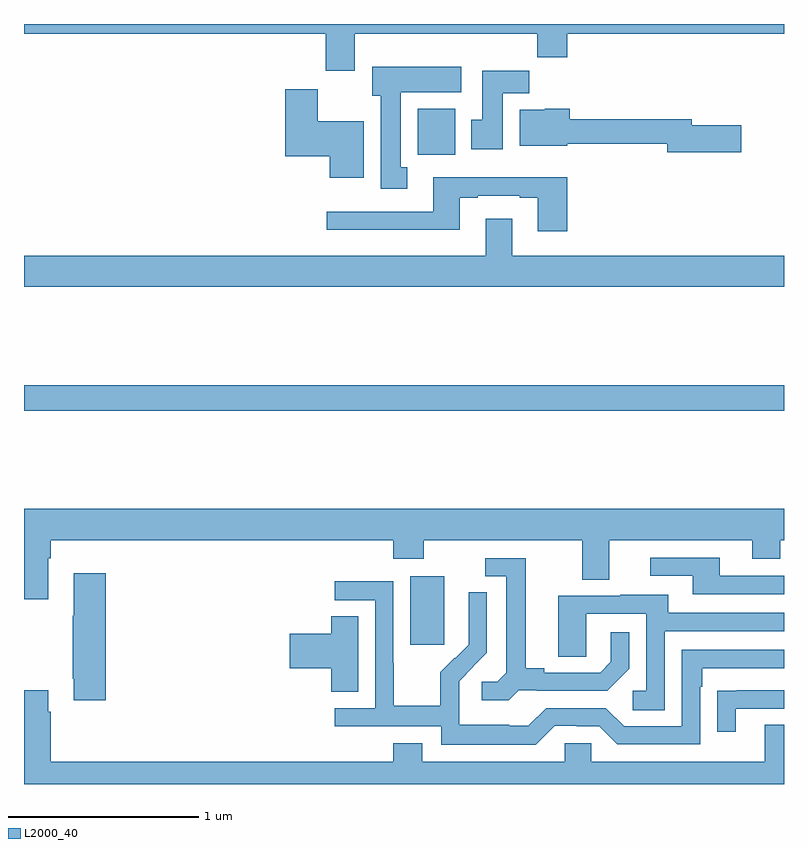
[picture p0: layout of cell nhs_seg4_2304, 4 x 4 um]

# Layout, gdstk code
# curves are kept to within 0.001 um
import gdstk
lib = gdstk.Library(unit=1e-6, precision=1e-09)
def R(c, l, rs):  # rectangles x0, y0, x1, y1
    for r in rs: c.add(gdstk.rectangle(r[:2], r[2:], *l))
def P(c, l, *ps):  # polygons
    for p in ps: c.add(gdstk.Polygon(p, *l))
L2000_40 = (2000, 40)

nhs_seg4_2304 = lib.new_cell('nhs_seg4_2304')
R(nhs_seg4_2304, L2000_40, [(233.033,765.633,233.212,765.994), (231,766.864,235,767), (233.072,768.212,233.269,768.454)])
P(nhs_seg4_2304, L2000_40, [(233.701,768.724),(233.858,768.724),(233.858,768.848),(235,768.848),(235,768.9),(231,768.9),(231,768.848),(232.589,768.848),(232.589,768.654),(232.741,768.654),(232.741,768.848),(233.701,768.848)],
  [(233.017,768.146),(232.984,768.146),(232.984,768.542),(233.302,768.542),(233.302,768.676),(232.832,768.676),(232.832,768.522),(232.877,768.522),(232.877,768.033),(233.017,768.033)],
  [(233.521,768.536),(233.66,768.536),(233.66,768.655),(233.411,768.655),(233.411,768.396),(233.354,768.396),(233.354,768.24),(233.521,768.24)],
  [(232.789,768.388),(232.546,768.388),(232.546,768.556),(232.376,768.556),(232.376,768.203),(232.61,768.203),(232.61,768.092),(232.789,768.092)],
  [(234.775,768.366),(234.514,768.366),(234.514,768.4),(233.873,768.4),(233.873,768.454),(233.742,768.454),(233.742,768.448),(233.609,768.448),(233.609,768.26),(233.86,768.26),(233.86,768.271),(234.386,768.271),(234.386,768.224),(234.775,768.224)],
  [(233.858,768.094),(233.153,768.094),(233.153,767.913),(232.593,767.913),(232.593,767.816),(233.293,767.816),(233.293,767.985),(233.389,767.985),(233.389,767.997),(233.609,767.997),(233.609,767.985),(233.705,767.985),(233.705,767.808),(233.858,767.808)],
  [(235,767.68),(233.569,767.68),(233.569,767.875),(233.429,767.875),(233.429,767.68),(231,767.68),(231,767.516),(235,767.516)],
  [(231.127,766.088),(231.14,766.088),(231.14,766.184),(232.943,766.184),(232.943,766.085),(233.103,766.085),(233.103,766.184),(233.939,766.184),(233.939,765.976),(234.079,765.976),(234.079,766.184),(234.833,766.184),(234.833,766.085),(234.981,766.085),(234.981,766.184),(235,766.184),(235,766.348),(231,766.348),(231,765.873),(231.127,765.873)],
  [(235,765.996),(234.661,765.996),(234.661,766.092),(234.297,766.092),(234.297,765.996),(234.521,765.996),(234.521,765.9),(235,765.9)],
  [(233.604,765.393),(233.698,765.393),(233.698,765.39),(234.07,765.39),(234.186,765.506),(234.186,765.7),(234.089,765.7),(234.089,765.543),(234.032,765.486),(233.737,765.486),(233.737,765.509),(233.641,765.509),(233.641,766.089),(233.427,766.089),(233.427,765.993),(233.537,765.993),(233.537,765.485),(233.49,765.438),(233.409,765.438),(233.409,765.341),(233.552,765.341)],
  [(231.431,766.009),(231.263,766.009),(231.263,765.785),(231.256,765.785),(231.256,765.454),(231.263,765.454),(231.263,765.342),(231.431,765.342)],
  [(233.793,765.207),(233.909,765.207),(233.909,765.204),(234.027,765.204),(234.123,765.108),(234.558,765.108),(234.558,765.413),(234.571,765.413),(234.571,765.51),(235,765.51),(235,765.606),(234.462,765.606),(234.462,765.204),(234.159,765.204),(234.063,765.3),(233.748,765.3),(233.655,765.207),(233.555,765.207),(233.555,765.211),(233.292,765.211),(233.292,765.345),(233.29,765.345),(233.29,765.442),(233.436,765.59),(233.436,765.908),(233.34,765.908),(233.34,765.754),(233.342,765.754),(233.342,765.632),(233.271,765.561),(233.268,765.564),(233.191,765.487),(233.191,765.313),(232.947,765.313),(232.947,765.536),(232.944,765.536),(232.944,765.966),(232.635,765.966),(232.635,765.867),(232.848,765.867),(232.848,765.3),(232.635,765.3),(232.635,765.204),(233.196,765.204),(233.196,765.107),(233.693,765.107)],
  [(234.372,765.705),(235,765.705),(235,765.801),(234.391,765.801),(234.391,765.895),(234.137,765.895),(234.137,765.891),(233.813,765.891),(233.813,765.571),(233.958,765.571),(233.958,765.795),(234.276,765.795),(234.276,765.39),(234.204,765.39),(234.204,765.289),(234.372,765.289)],
  [(232.759,765.782),(232.616,765.782),(232.616,765.692),(232.398,765.692),(232.398,765.509),(232.616,765.509),(232.616,765.385),(232.759,765.385)],
  [(235,765.211),(234.899,765.211),(234.899,765.016),(233.985,765.016),(233.985,765.114),(233.847,765.114),(233.847,765.016),(233.095,765.016),(233.095,765.115),(232.943,765.115),(232.943,765.016),(231.14,765.016),(231.14,765.281),(231.127,765.281),(231.127,765.394),(231,765.394),(231,764.9),(235,764.9)],
  [(234.745,765.297),(235,765.297),(235,765.393),(234.751,765.393),(234.751,765.392),(234.649,765.392),(234.649,765.174),(234.745,765.174)])

lib.write_gds('nhs_seg4_2304.gds')
